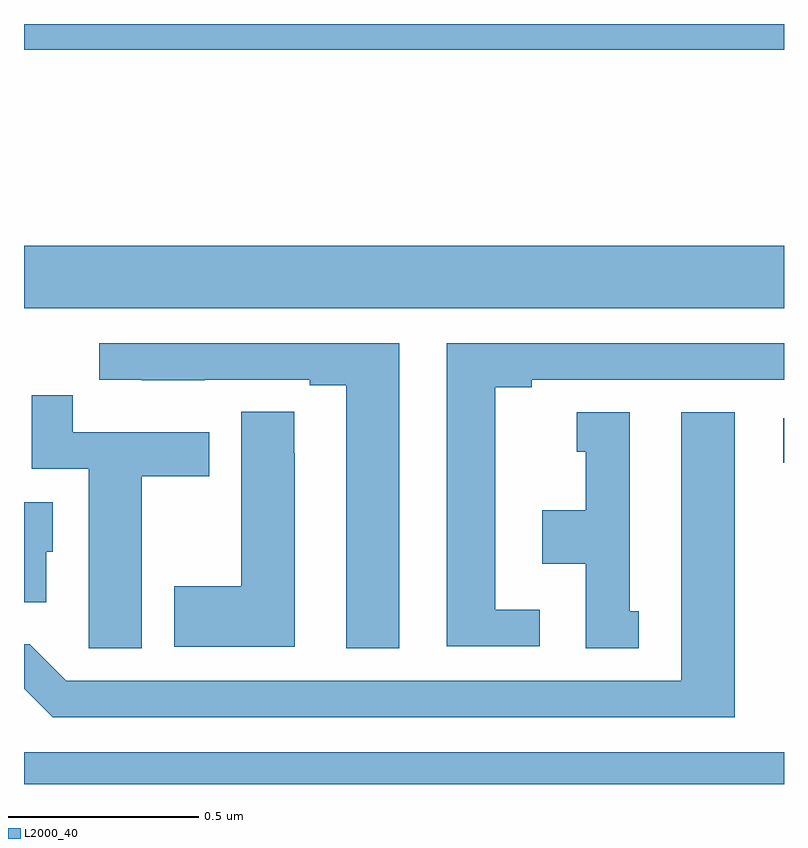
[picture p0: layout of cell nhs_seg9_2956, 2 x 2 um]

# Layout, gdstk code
import gdstk
lib = gdstk.Library(unit=1e-6, precision=1e-09)
def R(c, l, rs):  # rectangles x0, y0, x1, y1
    for r in rs: c.add(gdstk.rectangle(r[:2], r[2:], *l))
def P(c, l, *ps):  # polygons
    for p in ps: c.add(gdstk.Polygon(p, *l))
L2000_40 = (2000, 40)

nhs_seg9_2956 = lib.new_cell('nhs_seg9_2956')
R(nhs_seg9_2956, L2000_40, [(147,1196.5,149,1196.584), (148.998,1197.346,149,1197.462), (147,1197.752,149,1197.916), (147,1198.432,149,1198.5)])
P(nhs_seg9_2956, L2000_40, [(147.988,1197.66),(147.198,1197.66),(147.198,1197.564),(147.31,1197.564),(147.31,1197.563),(147.476,1197.563),(147.476,1197.564),(147.752,1197.564),(147.752,1197.549),(147.848,1197.549),(147.848,1196.857),(147.988,1196.857)],
  [(148.357,1196.958),(148.24,1196.958),(148.24,1197.544),(148.336,1197.544),(148.336,1197.564),(149,1197.564),(149,1197.66),(148.112,1197.66),(148.112,1196.862),(148.357,1196.862)],
  [(147.31,1197.31),(147.487,1197.31),(147.487,1197.426),(147.128,1197.426),(147.128,1197.523),(147.02,1197.523),(147.02,1197.33),(147.17,1197.33),(147.17,1196.968),(147.171,1196.968),(147.171,1196.857),(147.31,1196.857)],
  [(147.712,1197.371),(147.711,1197.371),(147.711,1197.479),(147.572,1197.479),(147.572,1197.021),(147.395,1197.021),(147.395,1196.861),(147.712,1196.861)],
  [(148.618,1196.955),(148.594,1196.955),(148.594,1197.478),(148.454,1197.478),(148.454,1197.375),(148.478,1197.375),(148.478,1197.22),(148.364,1197.22),(148.364,1197.08),(148.478,1197.08),(148.478,1196.857),(148.618,1196.857)],
  [(148.87,1197.478),(148.73,1197.478),(148.73,1196.772),(147.111,1196.772),(147.015,1196.868),(147,1196.868),(147,1196.751),(147.075,1196.676),(148.87,1196.676)],
  [(147.058,1197.111),(147.076,1197.111),(147.076,1197.241),(147,1197.241),(147,1196.978),(147.058,1196.978)])

lib.write_gds('nhs_seg9_2956.gds')
